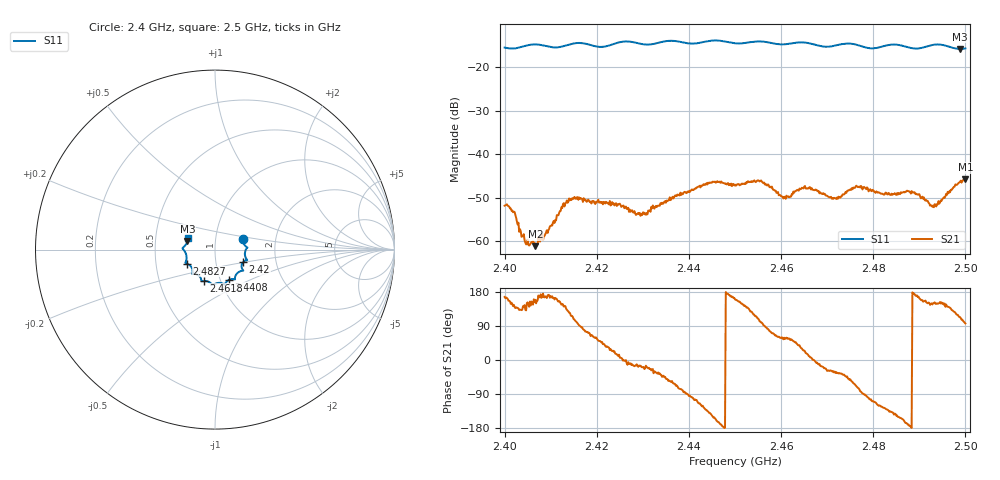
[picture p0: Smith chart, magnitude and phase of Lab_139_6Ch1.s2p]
# Hz S RI R 50
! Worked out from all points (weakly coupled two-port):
!   601 points, 2.4 GHz to 2.5 GHz, reference 50 ohm
!   highest |S21| = -45.83 dB at 2.5 GHz (marker M1); lowest = -61.2 dB at 2.4067 GHz (marker M2)
!   lowest |S11| = -15.9 dB at 2.4988 GHz (marker M3), VSWR 1.38, Z = 36.5 + j3.38 ohm
!   |S11| at or under -10 dB: start of sweep to end of sweep
!   S12 and S22 are empty: the file has one direction only
!   S11 on the Smith chart (normalised r, x): 2.4 GHz: 1.35, +0.17; 2.42 GHz: 1.36, -0.19; 2.4408 GHz: 1.10, -0.38; 2.4618 GHz: 0.84, -0.30; 2.4827 GHz: 0.72, -0.12; 2.5 GHz: 0.73, +0.09
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2.4e9  0.1552 0.0618  -0.00248 0.000604  0 0  0 0
2.401833e9  0.1586 0.0381  -0.0017 0.00131  0 0  0 0
2.404833e9  0.1761 0.0147  -0.000802 0.000457  0 0  0 0
2.406667e9  0.1811 0.0121  -0.000817 0.000316  0 0  0 0
2.413167e9  0.1702 -0.0434  -0.00214 0.00166  0 0  0 0
2.416667e9  0.1788 -0.0589  0.000215 0.00307  0 0  0 0
2.42e9  0.157 -0.0693  0.00154 0.00232  0 0  0 0
2.429e9  0.1445 -0.1191  0.00201 -0.00065  0 0  0 0
2.433333e9  0.1118 -0.1526  0.00214 -0.00138  0 0  0 0
2.440833e9  0.078 -0.1685  -0.000652 -0.00382  0 0  0 0
2.45e9  0.0273 -0.1853  -0.0042 0.00152  0 0  0 0
2.455333e9  -0.0119 -0.1962  -0.00104 0.00473  0 0  0 0
2.461833e9  -0.061 -0.1751  0.00177 0.00266  0 0  0 0
2.466667e9  -0.0762 -0.1682  0.00403 0.000321  0 0  0 0
2.4715e9  -0.1106 -0.1356  0.00264 -0.0017  0 0  0 0
2.476833e9  -0.1249 -0.1257  0.0011 -0.00404  0 0  0 0
2.482667e9  -0.1576 -0.0776  -0.00224 -0.00283  0 0  0 0
2.483333e9  -0.1617 -0.0764  -0.00246 -0.00259  0 0  0 0
2.488833e9  -0.1588 -0.0381  -0.00364 0.0003  0 0  0 0
2.493167e9  -0.18 0.00496  -0.00213 0.00122  0 0  0 0
2.498833e9  -0.1542 0.0451  -0.00188 0.00441  0 0  0 0
2.5e9  -0.1512 0.0625  -0.000572 0.00508  0 0  0 0
